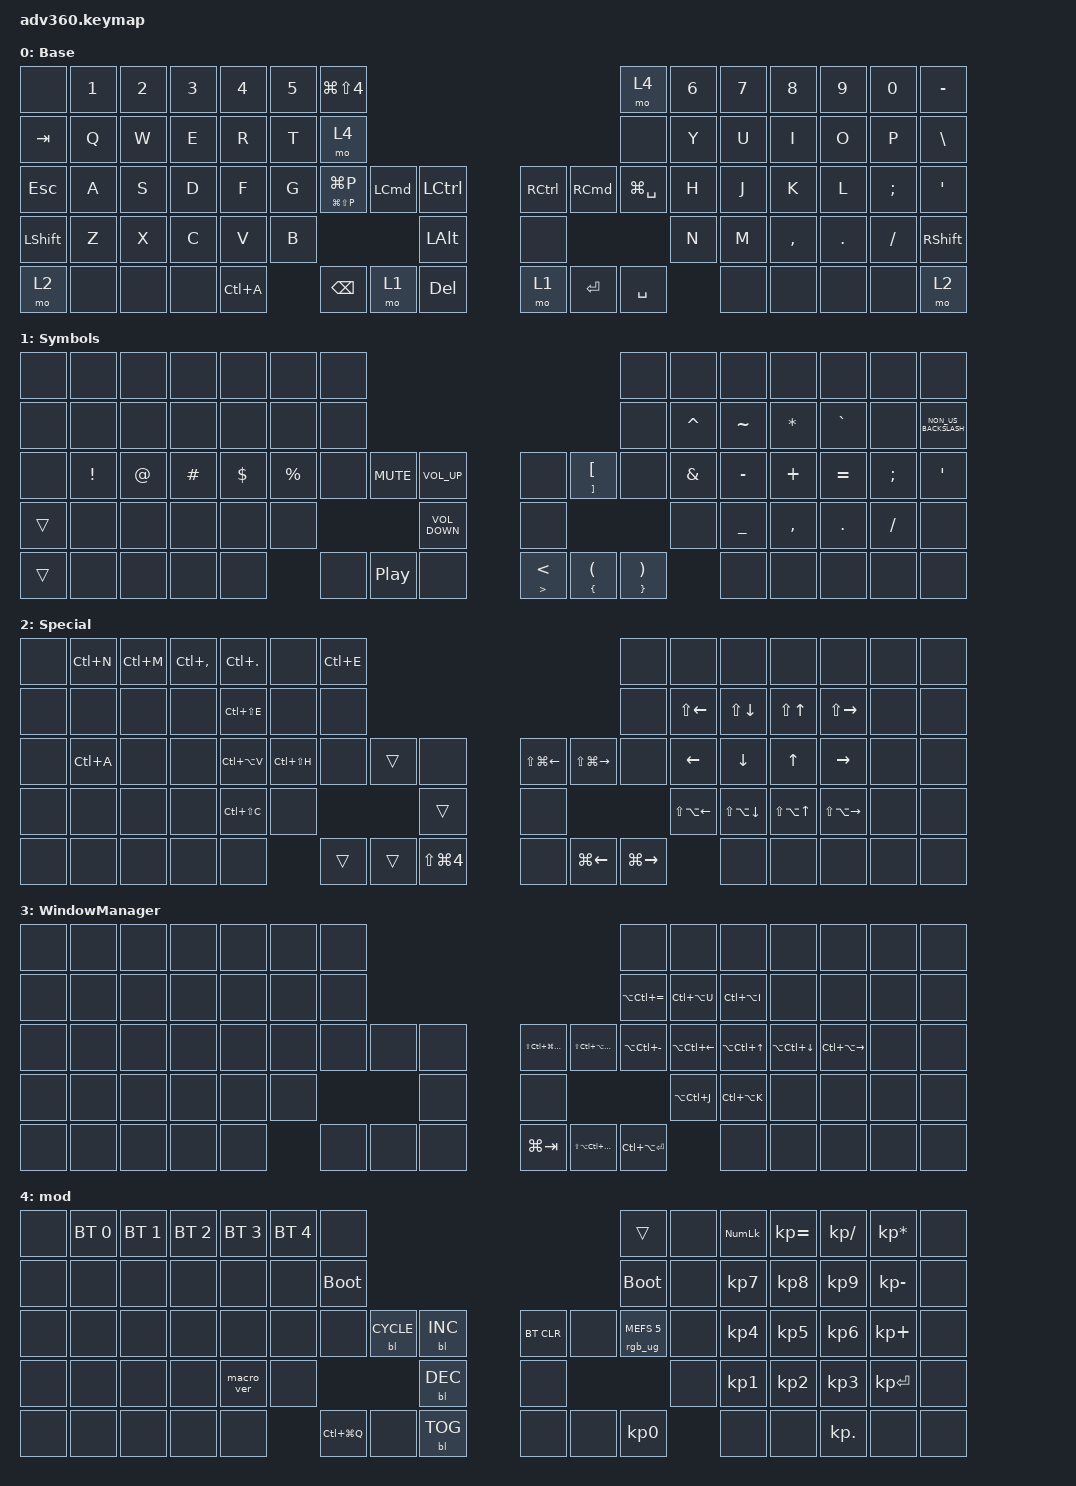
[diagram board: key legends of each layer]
#include <behaviors.dtsi>
#include <dt-bindings/zmk/backlight.h>
#include <dt-bindings/zmk/bt.h>
#include <dt-bindings/zmk/keys.h>
#include <dt-bindings/zmk/rgb.h>

/ {
    behaviors {
        #include "macros.dtsi"
      #include "version.dtsi"
      #ifndef VERSION_MACRO

        macro_ver: macro_ver {
            compatible = "zmk,behavior-macro";
            label = "macro_version";
            #binding-cells = <0>;
            bindings = <&kp RET>;
        };

        #endif

        hm: homerow_mods {
            compatible = "zmk,behavior-hold-tap";
            label = "HOMEROW_MODS";
            #binding-cells = <2>;
            tapping-term-ms = <200>;
            flavor = "balanced";
            bindings = <&kp>, <&kp>;

            quick-tap-ms = <170>;
        };
    };

    macros {
    };

    combos {
        compatible = "zmk,combos";

        WindowManager {
            bindings = <&mo 3>;
            key-positions = <29 65>;
        };

        SymbolsRight {
            bindings = <&mo 1>;
            key-positions = <32 65>;
        };

        SymbolsLeft {
            bindings = <&mo 1>;
            key-positions = <70 41>;
        };

        NumPad {
            bindings = <&mo 4>;
            key-positions = <31 65>;
        };
    };

    keymap {
        compatible = "zmk,keymap";

        Base {
            bindings = <
&none      &kp N1  &kp N2  &kp N3  &kp N4     &kp N5  &kp LG(LS(NUMBER_4))                                                                                &mo 4          &kp N6  &kp N7  &kp N8     &kp N9   &kp N0    &kp MINUS
&kp TAB    &kp Q   &kp W   &kp E   &kp R      &kp T   &mo 4                                                                                               &none          &kp Y   &kp U   &kp I      &kp O    &kp P     &kp BSLH
&kp ESC    &kp A   &kp S   &kp D   &kp F      &kp G   &hm LG(LS(P)) LG(P)   &kp LEFT_COMMAND  &kp LEFT_CONTROL      &kp RIGHT_CONTROL  &kp RIGHT_COMMAND  &kp LG(SPACE)  &kp H   &kp J   &kp K      &kp L    &kp SEMI  &kp SQT
&kp LSHFT  &kp Z   &kp X   &kp C   &kp V      &kp B                                           &kp LEFT_ALT          &none                                                &kp N   &kp M   &kp COMMA  &kp DOT  &kp FSLH  &kp RSHFT
&mo 2      &none   &none   &none   &kp LC(A)          &kp BSPC              &mo 1             &kp DEL               &mo 1              &kp ENTER          &kp SPACE              &none   &none      &none    &none     &mo 2
            >;
        };

        Symbols {
            bindings = <
&none   &none            &none        &none     &none       &none        &none                                                                                                        &none                              &none      &none      &none         &none       &none          &none
&none   &none            &none        &none     &none       &none        &none                                                                                                        &none                              &kp CARET  &kp TILDE  &kp ASTERISK  &kp GRAVE   &none          &kp NON_US_BACKSLASH
&none   &kp EXCLAMATION  &kp AT_SIGN  &kp HASH  &kp DOLLAR  &kp PERCENT  &none  &kp K_MUTE        &kp C_VOLUME_UP        &none                       &hm RIGHT_BRACKET LEFT_BRACKET   &none                              &kp AMPS   &kp MINUS  &kp PLUS      &kp EQUAL   &kp SEMICOLON  &kp SQT
&trans  &none            &none        &none     &none       &none                                 &kp C_VOLUME_DOWN      &none                                                                                           &none      &kp UNDER  &kp COMMA     &kp PERIOD  &kp SLASH      &none
&trans  &none            &none        &none     &none                    &none  &kp C_PLAY_PAUSE  &none                  &hm GREATER_THAN LESS_THAN  &hm LEFT_BRACE LEFT_PARENTHESIS  &hm RIGHT_BRACE RIGHT_PARENTHESIS             &none      &none         &none       &none          &none
            >;
        };

        Special {
            bindings = <
&none  &kp LC(N)  &kp LC(M)  &kp LC(COMMA)  &kp LC(PERIOD)  &none          &kp LC(E)                                                                         &none          &none               &none               &none                 &none                &none  &none
&none  &none      &none      &none          &kp LC(LS(E))   &none          &none                                                                             &none          &kp LS(LEFT_ARROW)  &kp LS(DOWN_ARROW)  &kp LS(UP_ARROW)      &kp LS(RIGHT_ARROW)  &none  &none
&none  &kp LC(A)  &none      &none          &kp LC(LA(V))   &kp LC(LS(H))  &none      &trans  &none                     &kp LS(LG(LEFT))  &kp LS(LG(RIGHT))  &none          &kp LEFT_ARROW      &kp DOWN_ARROW      &kp UP_ARROW          &kp RIGHT_ARROW      &none  &none
&none  &none      &none      &none          &kp LC(LS(C))   &none                             &trans                    &none                                               &kp LS(LA(LEFT))    &kp LS(LA(DOWN))    &kp LS(LA(UP_ARROW))  &kp LS(LA(RIGHT))    &none  &none
&none  &none      &none      &none          &none                          &trans     &trans  &kp LS(LG(NUMBER_4))      &none             &kp LG(LEFT)       &kp LG(RIGHT)                      &none               &none                 &none                &none  &none
            >;
        };

        WindowManager {
            bindings = <
&none  &none  &none  &none  &none  &none  &none                                                                           &none              &none                   &none                 &none                   &none                    &none  &none
&none  &none  &none  &none  &none  &none  &none                                                                           &kp LA(LC(EQUAL))  &kp LC(LA(U))           &kp LC(LA(I))         &none                   &none                    &none  &none
&none  &none  &none  &none  &none  &none  &none  &none  &none      &kp LS(LC(LG(LA(O))))  &kp LS(LC(LA(LG(DOWN_ARROW))))  &kp LA(LC(MINUS))  &kp LA(LC(LEFT_ARROW))  &kp LA(LC(UP_ARROW))  &kp LA(LC(DOWN_ARROW))  &kp LC(LA(RIGHT_ARROW))  &none  &none
&none  &none  &none  &none  &none  &none                &none      &none                                                                     &kp LA(LC(J))           &kp LC(LA(K))         &none                   &none                    &none  &none
&none  &none  &none  &none  &none         &none  &none  &none      &kp LG(TAB)            &kp LS(LA(LC(LG(UP_ARROW))))    &kp LC(LA(ENTER))                          &none                 &none                   &none                    &none  &none
            >;
        };

        mod {
            bindings = <
&none  &bt BT_SEL 0  &bt BT_SEL 1  &bt BT_SEL 2  &bt BT_SEL 3  &bt BT_SEL 4  &none                                                           &trans                  &none  &kp KP_NUM  &kp KP_EQUAL  &kp KP_SLASH     &kp KP_MULTIPLY  &none
&none  &none         &none         &none         &none         &none         &bootloader                                                     &bootloader             &none  &kp KP_N7   &kp KP_N8     &kp KP_NUMBER_9  &kp KP_MINUS     &none
&none  &none         &none         &none         &none         &none         &none          &bl BL_CYCLE  &bl BL_INC      &bt BT_CLR  &none  &rgb_ug RGB_MEFS_CMD 5  &none  &kp KP_N4   &kp KP_N5     &kp KP_N6        &kp KP_PLUS      &none
&none  &none         &none         &none         &macro_ver    &none                                      &bl BL_DEC      &none                                      &none  &kp KP_N1   &kp KP_N2     &kp KP_N3        &kp KP_ENTER     &none
&none  &none         &none         &none         &none                       &kp LC(LG(Q))  &none         &bl BL_TOG      &none       &none  &kp KP_N0                      &none       &none         &kp KP_DOT       &none            &none
            >;
        };
    };
};
